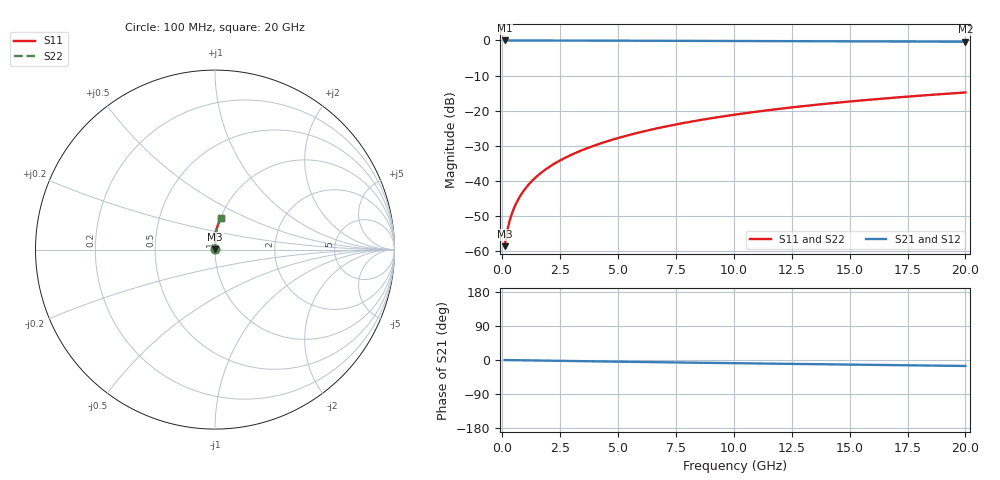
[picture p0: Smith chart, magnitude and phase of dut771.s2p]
! Touchstone file exported from HFSS 2024.1.0
!  File:  C:/UserFiles/LocalFiles/RDL_TSV_Batchsim/temp_RDL_top_771_1779852609.aedt
!  Generated:  11:32:36 AM May 27, 2026
!  Design:  RDL_top
!  Project:  temp_RDL_top_771_1779852609
!  Setup:  Setup1
!  Solution:  Sweep
! Variables:
!  dtsv = 10.80580581um
!  hbump = 3um
!  htsv = 61.76um
!  ldown = 100um
!  lrdl = 178.64um
!  p = 40
!  p1 = 58.74um
!  rhole = 1um
!  t = 450um
!  tdown = 3.915915916um
!  trdl = 4.01um
!  wdown = 15.38538539um
!  wrdl = 24.88um
# GHz S MA R 50.000000
! Terminal data exported
! Port[1] = Box2_T1
! Port[2] = Box2_T2
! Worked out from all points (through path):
!   200 points, 100 MHz to 20 GHz, reference 50 ohm
!   highest |S21| = -0.01 dB at 100 MHz (marker M1); lowest = -0.4 dB at 20 GHz (marker M2)
!   group delay of S21, straight-line fit = 2.16 ps
!   lowest |S11| = -58.5 dB at 100 MHz (marker M3), VSWR 1.00, Z = 50.1 + j0.0835 ohm
!   |S11| at or under -10 dB: start of sweep to end of sweep
!   |S22| runs from -58.5 to -14.8 dB; largest |S21 - S12| = 3.3e-15
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0.1  0.001182 44.9  0.9992 -0.1  0.9992 -0.1  0.001182 44.9
! Gamma 0 0 0 0
! Port Impedance 50 0 50 0
0.2  0.001859 61.8  0.9991 -0.2  0.9991 -0.2  0.001859 61.8
0.3  0.002582 69.3  0.999 -0.3  0.999 -0.3  0.002582 69.3
0.4  0.003315 73.6  0.999 -0.4  0.999 -0.4  0.003315 73.6
0.5  0.004055 76.5  0.9989 -0.5  0.9989 -0.5  0.004055 76.5
0.6  0.004801 78.6  0.9989 -0.6  0.9989 -0.6  0.004801 78.6
0.8  0.006309 81.5  0.9988 -0.7  0.9988 -0.7  0.006309 81.5
1.1  0.0086 84.1  0.9986 -1.0  0.9986 -1.0  0.0086 84.1
1.5  0.0117 86.1  0.9982 -1.4  0.9982 -1.4  0.0117 86.1
1.8  0.01405 87.2  0.9979 -1.7  0.9979 -1.7  0.01405 87.2
2.1  0.01643 87.9  0.9975 -1.9  0.9975 -1.9  0.01643 87.9
2.7  0.02127 89.0  0.9966 -2.5  0.9966 -2.5  0.02127 89.0
3.5  0.02789 89.9  0.9952 -3.2  0.9952 -3.2  0.02789 89.9
4.2  0.03386 90.3  0.9938 -3.8  0.9938 -3.8  0.03386 90.3
5  0.04086 90.4  0.9921 -4.4  0.9921 -4.4  0.04086 90.4
5.9  0.04895 90.4  0.9901 -5.2  0.9901 -5.2  0.04895 90.4
6.8  0.05721 90.1  0.9881 -5.9  0.9881 -5.9  0.05721 90.1
8.4  0.07223 89.2  0.9845 -7.2  0.9845 -7.2  0.07223 89.2
10.1  0.08844 87.9  0.9807 -8.5  0.9807 -8.5  0.08845 87.9
13.4  0.12 85.0  0.9738 -10.9  0.9738 -10.9  0.12 85.0
16.7  0.1512 82.0  0.9669 -13.4  0.9669 -13.4  0.1512 82.0
20  0.1817 79.1  0.9597 -15.8  0.9597 -15.8  0.1817 79.1
